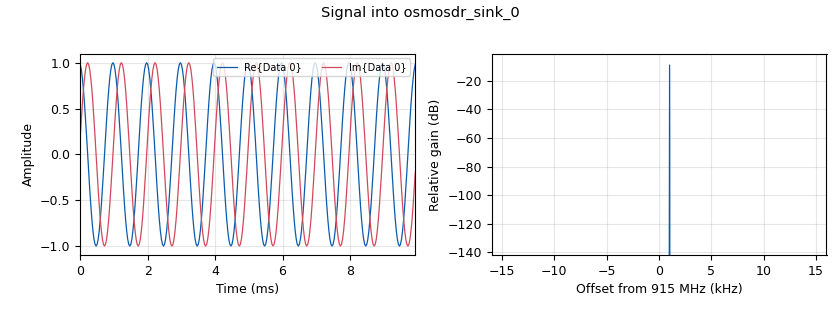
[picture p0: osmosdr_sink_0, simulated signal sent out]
options:
  parameters:
    generate_options: no_gui
    id: tx
    output_language: python
    run_options: run
    title: Not titled yet
  states: {}

blocks:
- name: samp_rate
  id: variable
  parameters:
    value: '32000'
  states: {}
- name: analog_sig_source_x_0
  id: analog_sig_source_x
  parameters:
    amp: '1'
    freq: '1000'
    offset: '0'
    phase: '0'
    samp_rate: samp_rate
    type: complex
    waveform: analog.GR_COS_WAVE
  states: {}
- name: osmosdr_sink_0
  id: osmosdr_sink
  parameters:
    bb_gain0: '20'
    freq0: 915e6
    gain0: '64'
    if_gain0: '20'
    sample_rate: samp_rate
    sync: sync
    type: fc32
  states: {}

connections:
- [analog_sig_source_x_0, '0', osmosdr_sink_0, '0']

metadata:
  file_format: 1
